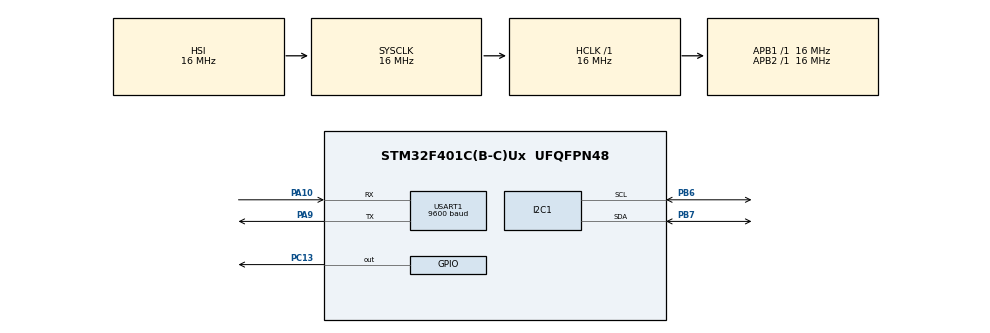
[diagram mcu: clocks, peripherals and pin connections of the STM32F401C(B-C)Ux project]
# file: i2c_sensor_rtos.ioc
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FREERTOS.Tasks01=sensorProduce,24,2048,sensor_data_producer,Default,NULL,Dynamic,NULL,NULL;BLConsumer,40,512,bl_data_consumer,Default,NULL,Dynamic,NULL,NULL
FREERTOS.configUSE_NEWLIB_REENTRANT=1
Mcu.Family=STM32F4
Mcu.Name=STM32F401C(B-C)Ux
Mcu.Package=UFQFPN48
NVIC.PriorityGroup=NVIC_PRIORITYGROUP_4
NVIC.TIM5_IRQn=true\:15\:0\:false\:false\:true\:false\:false\:true\:true
NVIC.TimeBase=TIM5_IRQn
NVIC.TimeBaseIP=TIM5
PA10.Mode=Asynchronous
PA10.Signal=USART1_RX
PA9.Mode=Asynchronous
PA9.Signal=USART1_TX
PB6.Mode=I2C
PB6.Signal=I2C1_SCL
PB7.Mode=I2C
PB7.Signal=I2C1_SDA
PC13-ANTI_TAMP.Signal=GPIO_Output
ProjectManager.HeapSize=0x200
ProjectManager.StackSize=0x400
ProjectManager.TargetToolchain=STM32CubeIDE
RCC.AHBFreq_Value=16000000
RCC.APB1Freq_Value=16000000
RCC.APB2Freq_Value=16000000
RCC.CortexFreq_Value=16000000
RCC.HSE_VALUE=25000000
RCC.HSI_VALUE=16000000
RCC.LSE_VALUE=32768
RCC.SYSCLKFreq_VALUE=16000000
RCC.VCOOutputFreq_Value=192000000
USART1.BaudRate=9600
USART1.VirtualMode=VM_ASYNC
VP_FREERTOS_VS_CMSIS_V2.Mode=CMSIS_V2
VP_SYS_VS_tim5.Mode=TIM5
board=custom

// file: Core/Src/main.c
/* USER CODE BEGIN Header */
/**
  ******************************************************************************
  * @file           : main.c
  * @brief          : Main program body
  ******************************************************************************
  * @attention
  *
  * Copyright (c) 2024 STMicroelectronics.
  * All rights reserved.
  *
  * This software is licensed under terms that can be found in the LICENSE file
  * in the root directory of this software component.
  * If no LICENSE file comes with this software, it is provided AS-IS.
  *
  ******************************************************************************
  */
/* USER CODE END Header */
#include "main.h"
#include "cmsis_os.h"
#include "i2c.h"
#include "usart.h"
#include "gpio.h"

void SystemClock_Config(void);
void MX_FREERTOS_Init(void);

int main(void)
{

  /* USER CODE BEGIN 1 */
  HAL_GPIO_WritePin(GPIOC, GPIO_PIN_13, GPIO_PIN_SET);
  /* USER CODE END 1 */

  /* MCU Configuration--------------------------------------------------------*/

  /* Reset of all peripherals, Initializes the Flash interface and the Systick. */
  HAL_Init();

  /* Configure the system clock */
  SystemClock_Config();

  /* Initialize all configured peripherals */
  MX_GPIO_Init();
  MX_I2C1_Init();
  MX_USART1_UART_Init();

  /* Init scheduler */
  osKernelInitialize();

  /* Call init function for freertos objects (in cmsis_os2.c) */
  MX_FREERTOS_Init();

  /* Start scheduler */
  osKernelStart();

  /* We should never get here as control is now taken by the scheduler */

  /* Infinite loop */
  while (1)
  {

  }
}

void SystemClock_Config(void)
{
  RCC_OscInitTypeDef RCC_OscInitStruct = {0};
  RCC_ClkInitTypeDef RCC_ClkInitStruct = {0};

  /** Configure the main internal regulator output voltage
  */
  __HAL_RCC_PWR_CLK_ENABLE();
  __HAL_PWR_VOLTAGESCALING_CONFIG(PWR_REGULATOR_VOLTAGE_SCALE2);

  /** Initializes the RCC Oscillators according to the specified parameters
  * in the RCC_OscInitTypeDef structure.
  */
  RCC_OscInitStruct.OscillatorType = RCC_OSCILLATORTYPE_HSI;
  RCC_OscInitStruct.HSIState = RCC_HSI_ON;
  RCC_OscInitStruct.HSICalibrationValue = RCC_HSICALIBRATION_DEFAULT;
  RCC_OscInitStruct.PLL.PLLState = RCC_PLL_NONE;
  if (HAL_RCC_OscConfig(&RCC_OscInitStruct) != HAL_OK)
  {
    Error_Handler();
  }

  /** Initializes the CPU, AHB and APB buses clocks
  */
  RCC_ClkInitStruct.ClockType = RCC_CLOCKTYPE_HCLK|RCC_CLOCKTYPE_SYSCLK
                              |RCC_CLOCKTYPE_PCLK1|RCC_CLOCKTYPE_PCLK2;
  RCC_ClkInitStruct.SYSCLKSource = RCC_SYSCLKSOURCE_HSI;
  RCC_ClkInitStruct.AHBCLKDivider = RCC_SYSCLK_DIV1;
  RCC_ClkInitStruct.APB1CLKDivider = RCC_HCLK_DIV1;
  RCC_ClkInitStruct.APB2CLKDivider = RCC_HCLK_DIV1;

  if (HAL_RCC_ClockConfig(&RCC_ClkInitStruct, FLASH_LATENCY_0) != HAL_OK)
  {
    Error_Handler();
  }
}

void HAL_TIM_PeriodElapsedCallback(TIM_HandleTypeDef *htim)
{
  if (htim->Instance == TIM5) {
    HAL_IncTick();
  }
}

void Error_Handler(void)
{
  __disable_irq();
  while (1)
  {
  }
}

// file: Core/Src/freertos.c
/* USER CODE END Header */

#include "FreeRTOS.h"
#include "task.h"
#include "main.h"
#include "cmsis_os.h"

/* USER CODE BEGIN Includes */
#include <string.h>
#include <stdlib.h>
#include "usart.h"
#include "i2c.h"
#include "bmp280.h"
#include "BH1750.h"
#include <stdio.h>
#include "mpu6050.h"
#include "moving-median.h"
#include "circular_buffer.h"
#include "semphr.h"

/* USER CODE END Includes */

/* USER CODE BEGIN PTD */

// Define a structure to represent sensor readings

/* USER CODE END PTD */

/* USER CODE BEGIN Variables */
movingMedian_t med_filter_temperature;
movingMedian_t med_filter_lumen;
movingMedian_t med_filter_gyro_x;
movingMedian_t med_filter_gyro_y;
movingMedian_t med_filter_gyro_z;

osMutexId_t circular_buffer_mutex;

static SensorData circular_buffer_storage_[CIRCULAR_BUFFER_SIZE] = {0};
static cbuf_handle_t cbuf_handle = NULL;

/* USER CODE END Variables */
/* Definitions for sensorProduce */
osThreadId_t sensorProduceHandle;
const osThreadAttr_t sensorProduce_attributes = {
  .name = "sensorProduce",
  .stack_size = 1024 * 4,
  .priority = (osPriority_t) osPriorityNormal,
};
/* Definitions for BLConsumer */
osThreadId_t BLConsumerHandle;
const osThreadAttr_t BLConsumer_attributes = {
  .name = "BLConsumer",
  .stack_size = 512 * 4,
  .priority = (osPriority_t) osPriorityHigh,
};

void sensor_data_producer(void *argument);
void bl_data_consumer(void *argument);

void MX_FREERTOS_Init(void); /* (MISRA C 2004 rule 8.1) */

void MX_FREERTOS_Init(void) {
  /* USER CODE BEGIN Init */
	cbuf_handle = circular_buf_init(circular_buffer_storage_, CIRCULAR_BUFFER_SIZE);

  /* USER CODE END Init */

  /* Create the thread(s) */
  /* creation of sensorProduce */
  sensorProduceHandle = osThreadNew(sensor_data_producer, NULL, &sensorProduce_attributes);

  /* creation of BLConsumer */
  BLConsumerHandle = osThreadNew(bl_data_consumer, NULL, &BLConsumer_attributes);

}

void sensor_data_producer(void *argument)
{
  /* USER CODE BEGIN sensor_data_producer */

  moving_median_create(&med_filter_temperature, 11, 1000);
  moving_median_create(&med_filter_lumen, 11, 1000);
  moving_median_create(&med_filter_gyro_x, 11, 1000);
  moving_median_create(&med_filter_gyro_y, 11, 1000);
  moving_median_create(&med_filter_gyro_z, 11, 1000);
  /////-------BMP280 init--------////
  BMP280_HandleTypedef bmp280;
  bmp280_init_default_params(&bmp280.params);
  bmp280.addr = BMP280_I2C_ADDRESS_0;
  bmp280.i2c = &hi2c1;
  while (!bmp280_init(&bmp280, &bmp280.params));

  /////-------BMP280 init--------/////

  /////-------BH1750 init--------/////
  BH1750_init_i2c(&hi2c1);
  BH1750_device_t* test_dev = BH1750_init_dev_struct(&hi2c1, "test device", true);
  BH1750_init_dev(test_dev);
  /////-------BH1750 init--------/////

  ////-------MPU6050 init-------/////
  MPU6050_t MPU6050;
  while (MPU6050_Init(&hi2c1) == 1);
  ////-------MPU6050 init-------/////
  SensorData sensor_data;

  /* Infinite loop */
  for(;;)
  {
	///--------------BMP280-----------------////
	//get sensor value
	while (!bmp280_read_float_temperature(&bmp280, &sensor_data.sensor_bmp280.temperature.value));
	//apply filter
	moving_median_filter(&med_filter_temperature, sensor_data.sensor_bmp280.temperature.value);
	sensor_data.sensor_bmp280.temperature.median = med_filter_temperature.filtered;
	///--------------BMP280-----------------///

	/////------------BH1750--------/////
	//get sensor value
    test_dev->poll(test_dev);
    sensor_data.sensor_bh1750.lumen.value = test_dev->value;
    //apply filter
    moving_median_filter(&med_filter_lumen, sensor_data.sensor_bh1750.lumen.value);
    sensor_data.sensor_bh1750.lumen.median = med_filter_lumen.filtered;
	/////-------BH1750--------/////

	////-------MPU6050-------/////
	MPU6050_Read_Gyro(&hi2c1, &MPU6050);
	sensor_data.sensor_mpu6050.gyro_x.value = MPU6050.Gx;
	sensor_data.sensor_mpu6050.gyro_y.value = MPU6050.Gy;
	sensor_data.sensor_mpu6050.gyro_z.value = MPU6050.Gz;

	moving_median_filter(&med_filter_gyro_x, sensor_data.sensor_mpu6050.gyro_x.value);
	sensor_data.sensor_mpu6050.gyro_x.median = med_filter_gyro_x.filtered;
	osDelay(10);
	moving_median_filter(&med_filter_gyro_y, sensor_data.sensor_mpu6050.gyro_y.value);
	sensor_data.sensor_mpu6050.gyro_y.median = med_filter_gyro_y.filtered;
	osDelay(10);
	moving_median_filter(&med_filter_gyro_z, sensor_data.sensor_mpu6050.gyro_z.value);
	sensor_data.sensor_mpu6050.gyro_z.median = med_filter_gyro_z.filtered;
	osDelay(10);
	////-------MPU6050-------/////
	///-------Writing Data to Circular Buffer-----//////
	osMutexAcquire(circular_buffer_mutex, osWaitForever);
	circular_buf_put(cbuf_handle, sensor_data);
	osMutexRelease(circular_buffer_mutex);

	HAL_GPIO_TogglePin(GPIOC, GPIO_PIN_13);
  }
  osThreadTerminate(NULL);
  /* USER CODE END sensor_data_producer */
}

void bl_data_consumer(void *argument)
{
  /* USER CODE BEGIN bl_data_consumer */
	SensorData broadcast_sensor_data;
	uint8_t size;
	uint8_t Data[250];

  /* Infinite loop */
  for(;;)
  {
	////----Get data from the circular buffer----////
	osMutexAcquire(circular_buffer_mutex, osWaitForever);
	circular_buf_get(cbuf_handle, &broadcast_sensor_data);
	osMutexRelease(circular_buffer_mutex);

	////----Send Data via UART to BL-----////
	size = sprintf((char *)Data,"Lumen: Value %.2f  Median: %.2f \n "
			"Temperature: Value %.2f  Median: %.2f \n "
			"Gyro: Value X %.2f Y %.2f Z %.2f \n"
			"Gyro: Median X %.2f Y %.2f Z %.2f \n\n\n\n",
			broadcast_sensor_data.sensor_bh1750.lumen.value,
			broadcast_sensor_data.sensor_bh1750.lumen.median,
			broadcast_sensor_data.sensor_bmp280.temperature.value,
			broadcast_sensor_data.sensor_bmp280.temperature.median,
			broadcast_sensor_data.sensor_mpu6050.gyro_x.value,
			broadcast_sensor_data.sensor_mpu6050.gyro_y.value,
			broadcast_sensor_data.sensor_mpu6050.gyro_z.value,
			broadcast_sensor_data.sensor_mpu6050.gyro_x.median,
			broadcast_sensor_data.sensor_mpu6050.gyro_y.median,
			broadcast_sensor_data.sensor_mpu6050.gyro_z.median);

	HAL_UART_Transmit(&huart1, Data, size, 1000);
    osDelay(30000);
  }
  osThreadTerminate(NULL);
  /* USER CODE END bl_data_consumer */
}
